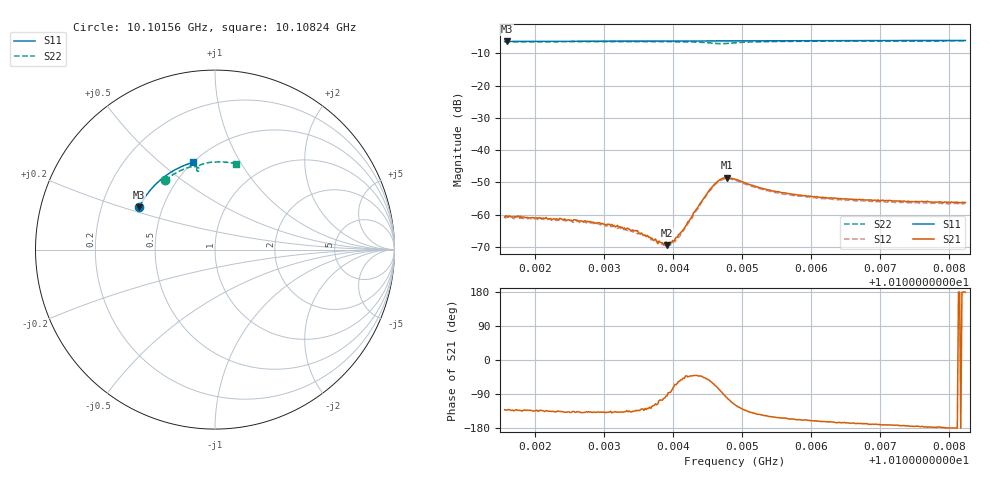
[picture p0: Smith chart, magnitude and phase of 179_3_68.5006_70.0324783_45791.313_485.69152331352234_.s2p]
#  HZ  S  RI  R  50.00
! Rohde & Schwarz Vector Network Analyzer
! Rohde-Schwarz,ZNB20-2Port,1311601062101988,3.16
! Created: UTC 3/20/2024, 4:56:38 PM
! freq[Hz]  re:S11  im:S11  re:S21  im:S21  re:S12  im:S12  re:S22  im:S22
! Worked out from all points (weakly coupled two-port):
!   401 points, 10.10156 GHz to 10.10824 GHz, reference 50 ohm
!   highest |S21| = -48.58 dB at 10.10478 GHz (marker M1); lowest = -69.6 dB at 10.10391 GHz (marker M2)
!   lowest |S11| = -6.3 dB at 10.10159 GHz (marker M3), VSWR 2.87, Z = 18.4 + j11.4 ohm
!   |S11| at or under -10 dB: nowhere
!   |S22| runs from -7.0 to -6.1 dB; largest |S21 - S12| = 0.00039
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1.0101558e10  -0.4231 0.2347  -0.000601 -0.000688  -0.000548 -0.00074  -0.2779 0.3868
1.0101591e10  -0.4221 0.2364  -0.000631 -0.000707  -0.000542 -0.000736  -0.2763 0.3881
1.0102678e10  -0.389 0.2936  -0.0006 -0.000521  -0.000523 -0.000563  -0.2172 0.4275
1.0103146e10  -0.3721 0.3167  -0.000494 -0.000456  -0.000482 -0.000483  -0.1892 0.4416
1.0103446e10  -0.3607 0.3308  -0.000398 -0.000403  -0.000328 -0.000416  -0.1704 0.4497
1.010363e10  -0.3536 0.3393  -0.00029 -0.000379  -0.000261 -0.000402  -0.1582 0.4541
1.0103797e10  -0.3468 0.3471  -0.000114 -0.000372  -0.000101 -0.000345  -0.1467 0.4578
1.0103914e10  -0.3419 0.3521  -2.6e-05 -0.000332  1.42e-06 -0.000337  -0.1382 0.46
1.0103948e10  -0.3404 0.3535  2.76e-05 -0.000356  4.15e-05 -0.000349  -0.1357 0.4605
1.0103998e10  -0.3385 0.3558  0.000104 -0.000391  0.000133 -0.000344  -0.1319 0.4615
1.0104065e10  -0.3355 0.3587  0.000213 -0.000391  0.000249 -0.000352  -0.1267 0.4621
1.0104165e10  -0.3313 0.3631  0.000404 -0.00046  0.000435 -0.000406  -0.1183 0.4628
1.0104416e10  -0.3203 0.3736  0.00116 -0.00108  0.00121 -0.00097  -0.0962 0.4584
1.01046e10  -0.312 0.3809  0.00125 -0.00264  0.00145 -0.00245  -0.0868 0.4438
1.01047e10  -0.3075 0.3849  0.000396 -0.00354  0.000674 -0.00336  -0.0923 0.4371
1.0104783e10  -0.3037 0.3883  -0.000654 -0.00367  -0.000269 -0.0036  -0.099 0.4387
1.01049e10  -0.2985 0.3929  -0.00168 -0.00312  -0.00135 -0.00313  -0.1021 0.4489
1.0105118e10  -0.2883 0.4012  -0.00214 -0.00198  -0.00189 -0.00205  -0.0916 0.4653
1.0105452e10  -0.2722 0.4134  -0.002 -0.00114  -0.00183 -0.00129  -0.0673 0.4774
1.010602e10  -0.2434 0.4324  -0.0018 -0.00065  -0.00168 -0.000743  -0.0277 0.4857
1.010714e10  -0.1833 0.4639  -0.00165 -0.000245  -0.00153 -0.000354  0.0463 0.4883
1.0108243e10  -0.1206 0.4861  -0.00154 3.27e-05  -0.00147 -0.000129  0.1168 0.4791
